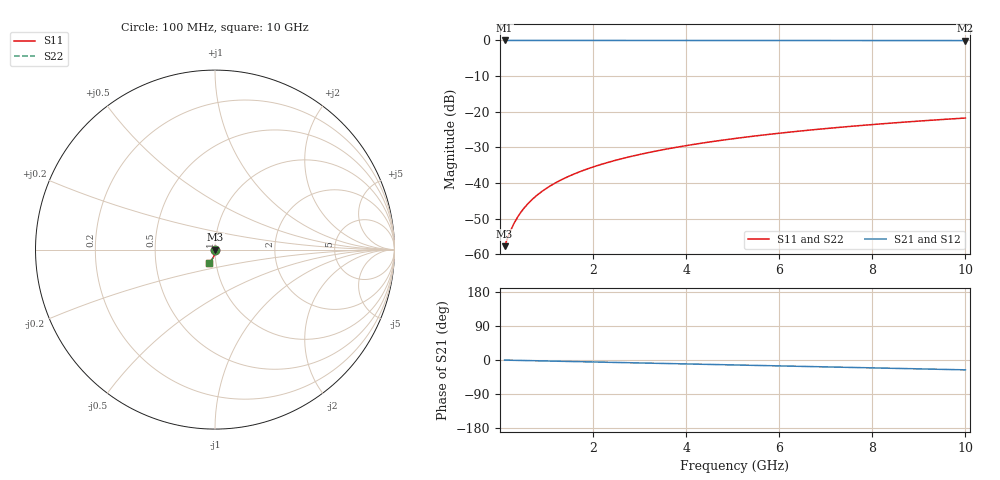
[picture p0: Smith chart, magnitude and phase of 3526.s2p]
# Hz S RI R 50.00
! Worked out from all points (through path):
!   100 points, 100 MHz to 10 GHz, reference 50 ohm
!   highest |S21| = -0.01 dB at 100 MHz (marker M1); lowest = 0.0 dB at 10 GHz (marker M2)
!   group delay of S21, straight-line fit = 7.22 ps
!   lowest |S11| = -57.7 dB at 100 MHz (marker M3), VSWR 1.00, Z = 50.1 - j0.0841 ohm
!   |S11| at or under -10 dB: start of sweep to end of sweep
!   |S22| runs from -57.7 to -21.8 dB; largest |S21 - S12| = 0
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1e8  0.000987 -0.00084  0.999 -0.00451  0.999 -0.00451  0.000987 -0.00084
2e8  0.00098 -0.00168  0.999 -0.00902  0.999 -0.00902  0.00098 -0.00168
3e8  0.000963 -0.00252  0.9989 -0.0135  0.9989 -0.0135  0.000963 -0.00252
4e8  0.000938 -0.00336  0.9988 -0.018  0.9988 -0.018  0.000938 -0.00336
5e8  0.000905 -0.0042  0.9987 -0.0225  0.9987 -0.0225  0.000905 -0.0042
6e8  0.000864 -0.00504  0.9986 -0.0271  0.9986 -0.0271  0.000864 -0.00504
7e8  0.000815 -0.00588  0.9984 -0.0316  0.9984 -0.0316  0.000815 -0.00588
9e8  0.000694 -0.00755  0.9981 -0.0406  0.9981 -0.0406  0.000694 -0.00755
1e9  0.000622 -0.00839  0.9979 -0.0451  0.9979 -0.0451  0.000622 -0.00839
1.2e9  0.000455 -0.0101  0.9974 -0.0541  0.9974 -0.0541  0.000455 -0.0101
1.5e9  0.000147 -0.0126  0.9966 -0.0676  0.9966 -0.0676  0.000147 -0.0126
1.8e9  -0.00023 -0.0151  0.9955 -0.0811  0.9955 -0.0811  -0.00023 -0.0151
2.1e9  -0.000674 -0.0176  0.9943 -0.0946  0.9943 -0.0946  -0.000674 -0.0176
2.5e9  -0.00137 -0.0209  0.9923 -0.1126  0.9923 -0.1126  -0.00137 -0.0209
2.9e9  -0.00219 -0.0241  0.99 -0.1305  0.99 -0.1305  -0.00219 -0.0241
3.4e9  -0.00338 -0.0282  0.9867 -0.1528  0.9867 -0.1528  -0.00338 -0.0282
4.2e9  -0.00566 -0.0346  0.9802 -0.1885  0.9802 -0.1885  -0.00566 -0.0346
5.1e9  -0.00878 -0.0415  0.9714 -0.2282  0.9714 -0.2282  -0.00878 -0.0415
5.9e9  -0.012 -0.0475  0.9622 -0.2633  0.9622 -0.2633  -0.012 -0.0475
6.7e9  -0.0157 -0.0532  0.9516 -0.298  0.9516 -0.298  -0.0157 -0.0532
8.4e9  -0.0248 -0.0645  0.9249 -0.3703  0.9249 -0.3703  -0.0248 -0.0645
1e10  -0.0349 -0.0736  0.8945 -0.4363  0.8945 -0.4363  -0.0349 -0.0736
